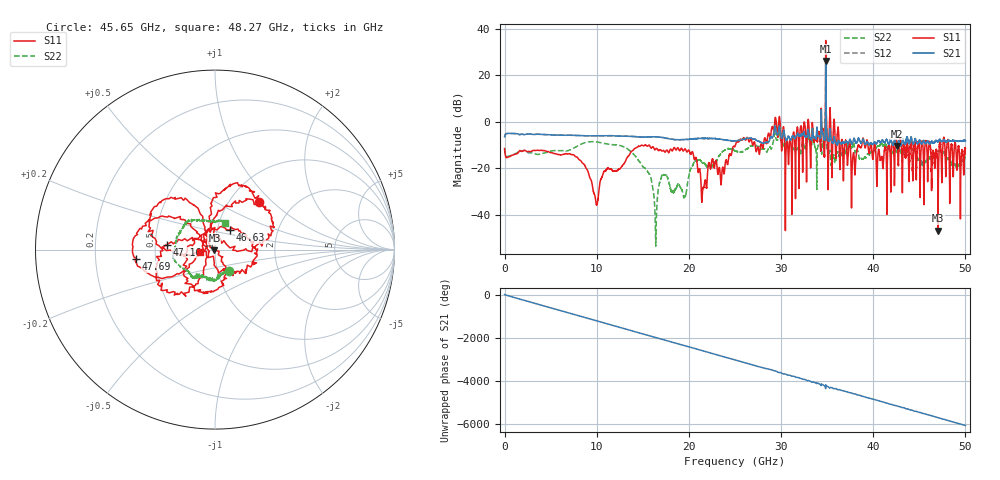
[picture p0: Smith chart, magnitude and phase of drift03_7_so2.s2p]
!Created with skrf (http://scikit-rf.org).
# Hz S RI R 50.0
!freq ReS11 ImS11 ReS21 ImS21 ReS12 ImS12 ReS22 ImS22
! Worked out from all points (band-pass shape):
!   10001 points, 300 kHz to 50 GHz, reference 50 ohm
!   highest |S21| = 26.08 dB at 34.85 GHz (marker M1); lowest = -10.4 dB at 42.56 GHz (marker M2)
!   |S21| within 3 dB of the highest: 34.84381 GHz to 34.84616 GHz (2.357 MHz wide, 0.00676 % of centre)
!   lowest |S11| = -46.8 dB at 47.04 GHz (marker M3), VSWR 1.01, Z = 49.7 - j0.295 ohm
!   |S11| at or under -10 dB: start of sweep to 15.22 GHz; 15.32 GHz to 25.05 GHz (9.736 GHz wide, 48.2 % of centre); 40.22 GHz to 41.66 GHz (1.446 GHz wide, 3.53 % of centre) (the widest 3 of 57)
!   |S22| runs from -53.5 to 17.3 dB; largest |S21 - S12| = 2.7
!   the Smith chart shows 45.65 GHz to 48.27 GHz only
!   S11 on the Smith chart (normalised r, x): 45.65 GHz: 1.35, +0.83; 46.63 GHz: 1.15, +0.25; 47.16 GHz: 0.57, +0.03; 47.69 GHz: 0.39, -0.05; 48.27 GHz: 0.85, -0.03
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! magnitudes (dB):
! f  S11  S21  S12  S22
! 300 kHz  -11.5  -6.5  -6.5  -11.5
! 8.335 GHz  -17.1  -6.0  -6.0  -9.6
! 9.955 GHz  -35.4  -6.1  -6.1  -8.7
! 11 GHz  -20.9  -6.0  -6.1  -9.5
! 16.67 GHz  -12.4  -6.6  -6.5  -29.2
! 19.53 GHz  -11.8  -7.7  -7.7  -32.2
! 20.21 GHz  -13.9  -7.4  -7.5  -20.0
! 21.55 GHz  -28.2  -7.2  -7.2  -17.7
! 25 GHz  -10.6  -8.3  -8.2  -12.5
! 33.34 GHz  -3.7  -7.0  -6.9  -9.5
! 34.85 GHz  34.9  26.1  25.9  17.3
! 37.83 GHz  -13.7  -8.3  -8.3  -9.8
! 39.07 GHz  -10.5  -9.4  -9.6  -15.2
! 41.67 GHz  -10.0  -9.5  -9.5  -11.5
! 42.56 GHz  -8.5  -10.4  -10.5  -13.0
! 45.65 GHz  -8.8  -9.2  -9.2  -17.1
! 46.63 GHz  -17.3  -8.9  -8.9  -14.0
! 47.04 GHz  -46.8  -8.4  -8.5  -12.8
! 47.16 GHz  -11.3  -8.0  -8.0  -12.5
! 47.69 GHz  -7.1  -7.7  -7.7  -13.3
! 48.27 GHz  -21.7  -8.2  -8.2  -16.1
! 50 GHz  -11.4  -8.2  -8.2  -15.4
